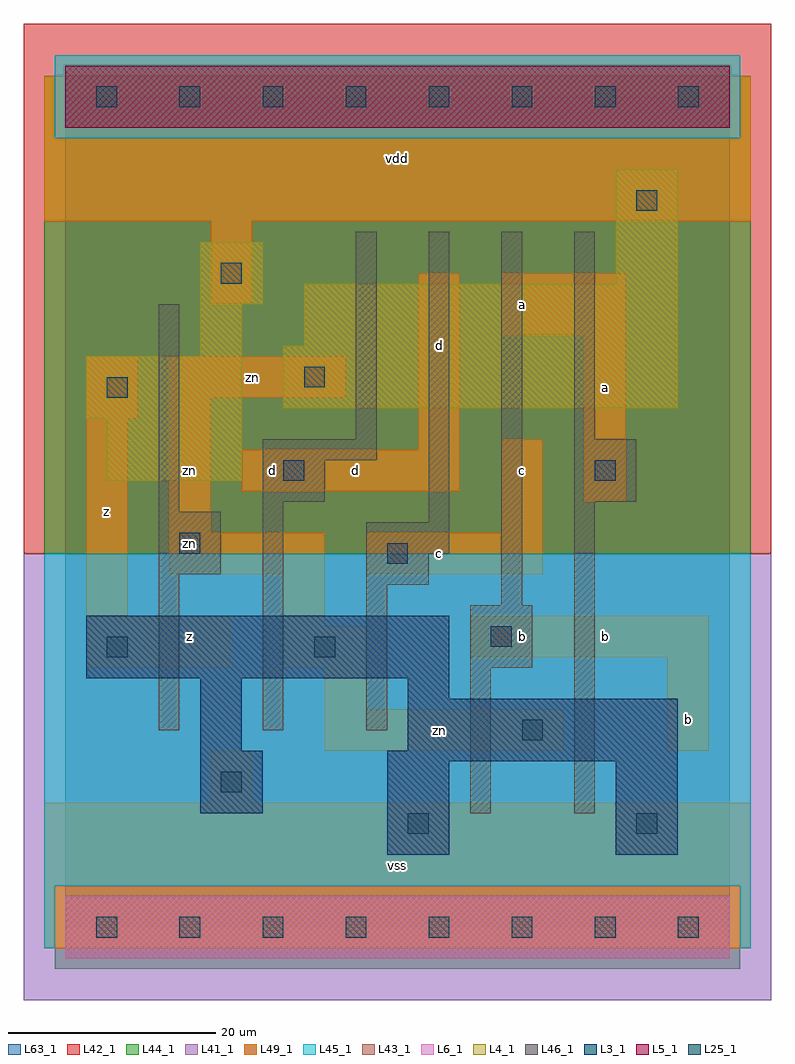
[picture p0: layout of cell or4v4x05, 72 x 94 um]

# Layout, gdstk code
import gdstk
lib = gdstk.Library(unit=1e-6, precision=1e-09)
def R(c, l, rs):  # rectangles x0, y0, x1, y1
    for r in rs: c.add(gdstk.rectangle(r[:2], r[2:], *l))
def A(c, l, x, y, w, h, nx, ny, dx, dy):  # array of equal rectangles
    R(c, l, [(x+i*dx, y+j*dy, x+i*dx+w, y+j*dy+h) for i in range(nx) for j in range(ny)])
L3_1 = (3, 1)
L4_1 = (4, 1)
L5_1 = (5, 1)
L6_1 = (6, 1)
L25_1 = (25, 1)
L41_1 = (41, 1)
L42_1 = (42, 1)
L43_1 = (43, 1)
L44_1 = (44, 1)
L45_1 = (45, 1)
L46_1 = (46, 1)
L49_1 = (49, 1)
L63_1 = (63, 1)

or4v4x05 = lib.new_cell('or4v4x05')
R(or4v4x05, L3_1, [(31,7,37,16), (53,7,59,16), (13,11,19,17), (31,16,59,17), (13,17,17,24), (33,17,59,22), (33,22,37,24), (2,24,37,30)])
R(or4v4x05, L4_1, [(4,43,17,49), (2,49,17,55), (21,50,59,56), (13,55,17,60), (23,56,59,62), (13,60,19,66), (53,62,59,73)])
R(or4v4x05, L5_1, [(0,77,64,83)])
R(or4v4x05, L6_1, [(0,-3,64,3), (0,-3,64,3)])
A(or4v4x05, L25_1, 3, -1, 2, 2, 8, 2, 8, 80)
R(or4v4x05, L25_1, [(33,9,35,11), (55,9,57,11), (15,13,17,15), (44,18,46,20), (4,26,6,28), (24,26,26,28), (41,27,43,29), (31,35,33,37), (11,36,13,38), (21,43,23,45), (51,43,53,45), (4,51,6,53), (23,52,25,54), (15,62,17,64), (55,69,57,71)])
R(or4v4x05, L41_1, [(-4,-7,68,36)])
R(or4v4x05, L42_1, [(-4,36,68,87)])
R(or4v4x05, L43_1, [(0,-3,64,3), (31,7,37,16), (53,7,59,16), (13,11,19,17), (31,16,59,17), (13,17,17,24), (33,17,59,22), (33,22,37,24), (2,24,37,30), (4,43,17,49), (2,49,17,55), (21,50,59,56), (13,55,17,60), (23,56,59,62), (13,60,19,66), (53,62,59,73), (0,77,64,83)])
R(or4v4x05, L44_1, [(-1,-4,65,4), (-2,36,66,76), (-2,76,-1,82), (65,76,66,82)])
R(or4v4x05, L45_1, [(-2,-2,-1,4), (65,-2,66,4), (-2,4,66,36), (-1,76,65,84)])
R(or4v4x05, L46_1, [(39,11,41,25), (49,11,51,41), (9,19,11,34), (19,19,21,41), (29,19,31,33), (39,25,45,31), (42,31,44,67), (29,33,35,36), (9,34,15,40), (29,36,37,39), (35,39,37,67), (9,40,11,60), (19,41,25,45), (49,41,55,47), (19,45,30,47), (28,47,30,67), (49,47,51,67)])
R(or4v4x05, L49_1, [(-2,-2,66,12), (14,12,18,17), (25,17,48,21), (58,17,62,26), (25,21,29,25), (2,25,16,30), (21,25,29,29), (39,26,62,30), (21,29,25,34), (2,30,6,49), (10,34,25,38), (29,34,46,38), (10,38,14,51), (42,38,46,47), (50,41,54,57), (17,42,38,46), (34,46,38,63), (2,49,7,55), (10,51,27,55), (42,57,54,63), (14,60,18,68), (-2,68,66,82)])
R(or4v4x05, L63_1, [(0,0,64,80)])
or4v4x05.add(gdstk.Label('zn', (12,37), layer=49, texttype=1))
or4v4x05.add(gdstk.Label('z', (4,40), layer=49, texttype=1))
or4v4x05.add(gdstk.Label('z', (12,28), layer=49, texttype=1))
or4v4x05.add(gdstk.Label('d', (20,44), layer=49, texttype=1))
or4v4x05.add(gdstk.Label('zn', (12,44), layer=49, texttype=1))
or4v4x05.add(gdstk.Label('vss', (32,6), layer=49, texttype=1))
or4v4x05.add(gdstk.Label('d', (28,44), layer=49, texttype=1))
or4v4x05.add(gdstk.Label('c', (36,36), layer=49, texttype=1))
or4v4x05.add(gdstk.Label('zn', (18,53), layer=49, texttype=1))
or4v4x05.add(gdstk.Label('d', (36,56), layer=49, texttype=1))
or4v4x05.add(gdstk.Label('vdd', (32,74), layer=49, texttype=1))
or4v4x05.add(gdstk.Label('zn', (36,19), layer=49, texttype=1))
or4v4x05.add(gdstk.Label('b', (44,28), layer=49, texttype=1))
or4v4x05.add(gdstk.Label('c', (44,44), layer=49, texttype=1))
or4v4x05.add(gdstk.Label('a', (44,60), layer=49, texttype=1))
or4v4x05.add(gdstk.Label('b', (52,28), layer=49, texttype=1))
or4v4x05.add(gdstk.Label('b', (60,20), layer=49, texttype=1))
or4v4x05.add(gdstk.Label('a', (52,52), layer=49, texttype=1))

lib.write_gds('or4v4x05.gds')
